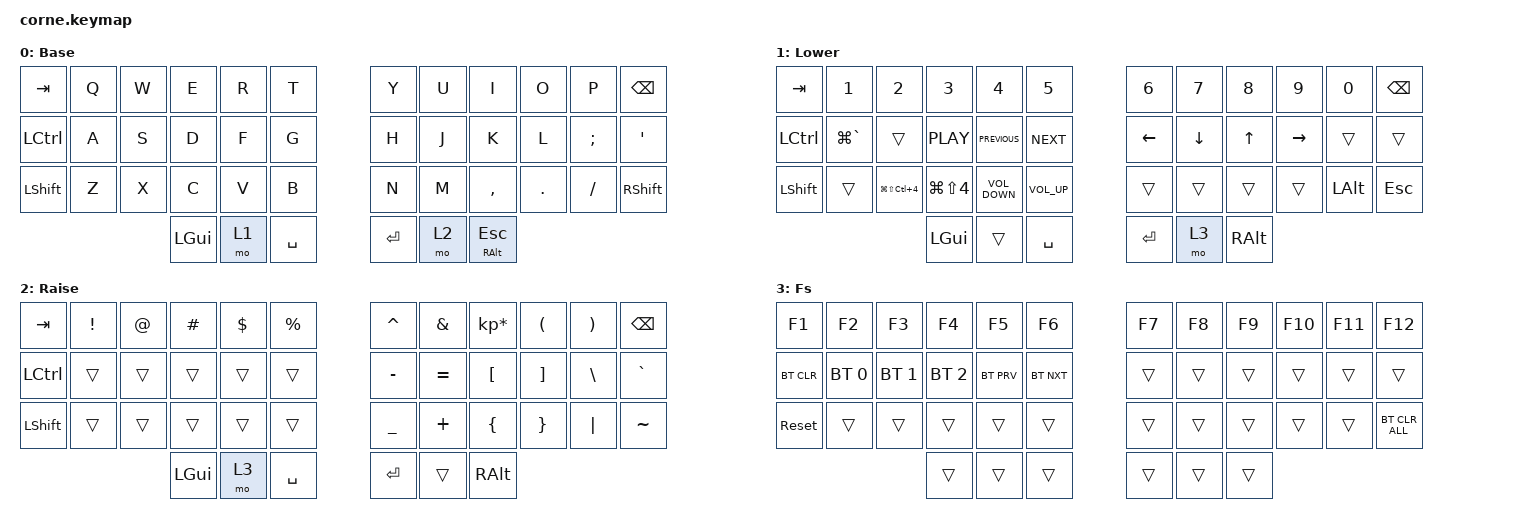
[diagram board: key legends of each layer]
/*
 * Copyright (c) 2020 The ZMK Contributors
 *
 * SPDX-License-Identifier: MIT
 */

#include <behaviors.dtsi>
#include <dt-bindings/zmk/bt.h>
#include <dt-bindings/zmk/keys.h>

/ {
    keymap {
        compatible = "zmk,keymap";

        default_layer {
            // -----------------------------------------------------------------------------------------
            // |  TAB |  Q  |  W  |  E  |  R  |  T  |   |  Y  |  U   |  I  |  O  |  P  | BKSP |
            // | CTRL |  A  |  S  |  D  |  F  |  G  |   |  H  |  J   |  K  |  L  |  ;  |  '   |
            // | SHFT |  Z  |  X  |  C  |  V  |  B  |   |  N  |  M   |  ,  |  .  |  /  | ESC  |
            //                    | GUI | LWR | SPC |   | ENT | RSE  | ALT |

            display-name = "Base";
            bindings = <
&kp TAB    &kp Q  &kp W  &kp E     &kp R  &kp T        &kp Y    &kp U  &kp I         &kp O    &kp P     &kp BSPC
&kp LCTRL  &kp A  &kp S  &kp D     &kp F  &kp G        &kp H    &kp J  &kp K         &kp L    &kp SEMI  &kp SQT
&kp LSHFT  &kp Z  &kp X  &kp C     &kp V  &kp B        &kp N    &kp M  &kp COMMA     &kp DOT  &kp FSLH  &kp RIGHT_SHIFT
                         &kp LGUI  &mo 1  &kp SPACE    &kp RET  &mo 2  &mt RALT ESC
            >;
        };

        lower_layer {
            // -----------------------------------------------------------------------------------------
            // |  TAB |  1  |  2  |  3  |  4  |  5  |   |  6  |  7  |  8  |  9  |  0  | BKSP |
            // | BTCLR| BT1 | BT2 | BT3 | BT4 | BT5 |   | LFT | DWN |  UP | RGT |     |      |
            // | SHFT |     |     |     |     |     |   |     |     |     |     |     |      |
            //                    | GUI |     | SPC |   | ENT |     | ALT |

            display-name = "Lower";
            bindings = <
&kp TAB    &kp N1         &kp N2                    &kp N3                &kp N4             &kp N5             &kp N6    &kp N7    &kp N8    &kp N9     &kp N0        &kp BSPC
&kp LCTRL  &kp LG(GRAVE)  &trans                    &kp C_PLAY            &kp C_PREVIOUS     &kp C_NEXT         &kp LEFT  &kp DOWN  &kp UP    &kp RIGHT  &trans        &trans
&kp LSHFT  &trans         &kp LG(LS(LC(NUMBER_4)))  &kp LG(LS(NUMBER_4))  &kp C_VOLUME_DOWN  &kp C_VOLUME_UP    &trans    &trans    &trans    &trans     &kp LEFT_ALT  &kp ESC
                                                    &kp LGUI              &trans             &kp SPACE          &kp RET   &mo 3     &kp RALT
            >;

            label = "Numbers";
        };

        raise_layer {
            // -----------------------------------------------------------------------------------------
            // |  TAB |  !  |  @  |  #  |  $  |  %  |   |  ^  |  &  |  *  |  (  |  )  | BKSP |
            // | CTRL |     |     |     |     |     |   |  -  |  =  |  [  |  ]  |  \  |  `   |
            // | SHFT |     |     |     |     |     |   |  _  |  +  |  {  |  }  | "|" |  ~   |
            //                    | GUI |     | SPC |   | ENT |     | ALT |

            display-name = "Raise";
            bindings = <
&kp TAB    &kp EXCL  &kp AT  &kp HASH  &kp DLLR  &kp PRCNT    &kp CARET  &kp AMPS   &kp KP_MULTIPLY  &kp LPAR  &kp RPAR  &kp BSPC
&kp LCTRL  &trans    &trans  &trans    &trans    &trans       &kp MINUS  &kp EQUAL  &kp LBKT         &kp RBKT  &kp BSLH  &kp GRAVE
&kp LSHFT  &trans    &trans  &trans    &trans    &trans       &kp UNDER  &kp PLUS   &kp LBRC         &kp RBRC  &kp PIPE  &kp TILDE
                             &kp LGUI  &mo 3     &kp SPACE    &kp RET    &trans     &kp RALT
            >;

            label = "Symbols";
        };

        layer_3 {
            bindings = <
&kp F1      &kp F2        &kp F3        &kp F4        &kp F5      &kp F6        &kp F7  &kp F8  &kp F9  &kp F10  &kp F11  &kp F12
&bt BT_CLR  &bt BT_SEL 0  &bt BT_SEL 1  &bt BT_SEL 2  &bt BT_PRV  &bt BT_NXT    &trans  &trans  &trans  &trans   &trans   &trans
&sys_reset  &trans        &trans        &trans        &trans      &trans        &trans  &trans  &trans  &trans   &trans   &bt BT_CLR_ALL
                                        &trans        &trans      &trans        &trans  &trans  &trans
            >;

            label = "Fs";
        };
    };
};
